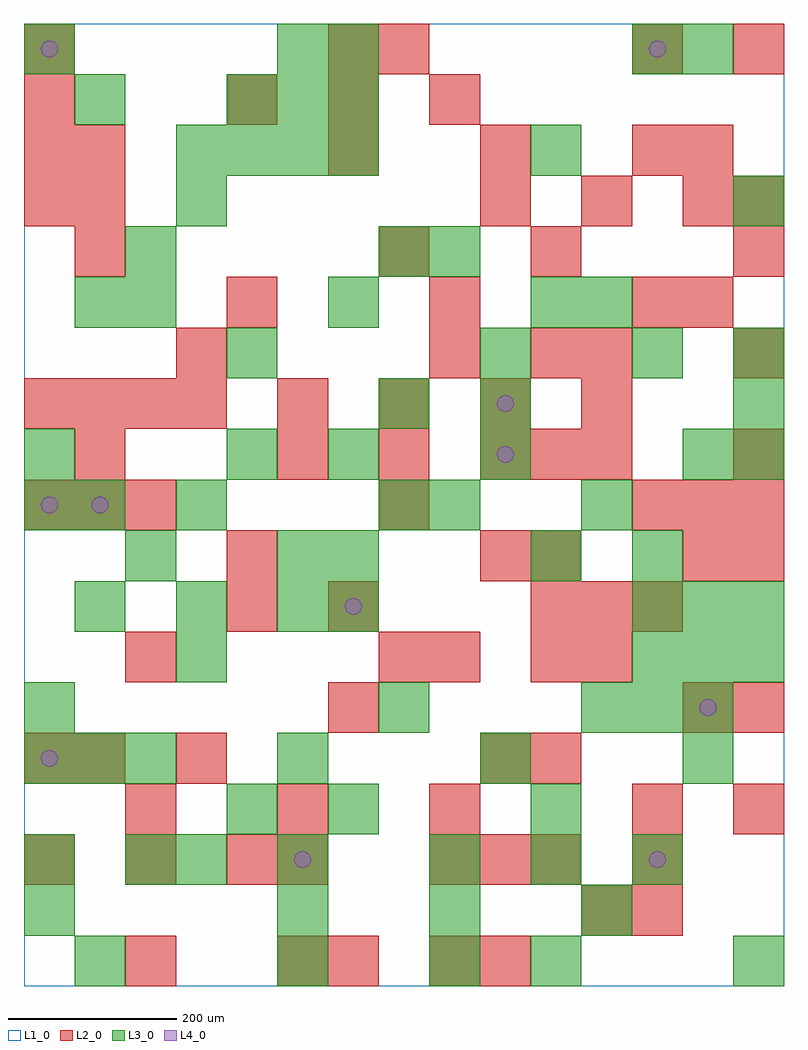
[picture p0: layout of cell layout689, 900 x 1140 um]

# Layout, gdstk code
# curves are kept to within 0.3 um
import gdstk
lib = gdstk.Library(unit=1e-6, precision=1e-09)
def R(c, l, rs):  # rectangles x0, y0, x1, y1
    for r in rs: c.add(gdstk.rectangle(r[:2], r[2:], *l))
def A(c, l, x, y, w, h, nx, ny, dx, dy):  # array of equal rectangles
    R(c, l, [(x+i*dx, y+j*dy, x+i*dx+w, y+j*dy+h) for i in range(nx) for j in range(ny)])
def P(c, l, *ps):  # polygons
    for p in ps: c.add(gdstk.Polygon(p, *l))
L1_0 = (1, 0)
L2_0 = (2, 0)
L3_0 = (3, 0)
L4_0 = (4, 0)

layout689 = lib.new_cell('layout689')
R(layout689, L1_0, [(0,0,900,1140)])
A(layout689, L2_0, 480, 0, 60, 60, 1, 3, 0, 360)
A(layout689, L2_0, 540, 0, 60, 60, 1, 3, 0, 240)
A(layout689, L2_0, 720, 60, 60, 60, 1, 3, 0, 60)
A(layout689, L2_0, 0, 120, 60, 60, 3, 1, 120, 0)
A(layout689, L2_0, 480, 120, 60, 60, 3, 1, 60, 0)
A(layout689, L2_0, 120, 180, 60, 60, 3, 1, 180, 0)
A(layout689, L2_0, 600, 240, 60, 60, 1, 6, 0, 120)
A(layout689, L2_0, 600, 420, 60, 60, 3, 1, 60, 0)
A(layout689, L2_0, 840, 480, 60, 60, 1, 4, 0, 120)
A(layout689, L2_0, 0, 540, 60, 60, 3, 1, 60, 0)
A(layout689, L2_0, 720, 540, 60, 60, 3, 1, 60, 0)
A(layout689, L2_0, 300, 600, 60, 60, 3, 1, 120, 0)
A(layout689, L2_0, 0, 660, 60, 60, 4, 1, 60, 0)
A(layout689, L2_0, 300, 660, 60, 60, 4, 1, 120, 0)
A(layout689, L2_0, 240, 780, 60, 60, 3, 1, 240, 0)
A(layout689, L2_0, 60, 840, 60, 60, 1, 3, 0, 60)
A(layout689, L2_0, 0, 900, 60, 60, 1, 4, 0, 60)
A(layout689, L2_0, 540, 900, 60, 60, 3, 1, 120, 0)
A(layout689, L2_0, 360, 960, 60, 60, 3, 1, 180, 0)
A(layout689, L2_0, 240, 1020, 60, 60, 3, 1, 120, 0)
R(layout689, L2_0, [(120,0,180,60), (300,0,360,60), (360,0,420,60), (660,60,720,120), (300,120,360,180), (840,180,900,240), (0,240,60,300), (60,240,120,300), (180,240,240,300), (360,300,420,360), (780,300,840,360), (840,300,900,360), (120,360,180,420), (420,360,480,420), (660,360,720,420), (240,420,300,480), (360,420,420,480), (240,480,300,540), (780,480,840,540), (420,540,480,600), (60,600,120,660), (660,600,720,660), (180,720,240,780), (660,720,720,780), (780,780,840,840), (420,840,480,900), (840,900,900,960), (780,960,840,1020), (360,1080,420,1140), (420,1080,480,1140), (720,1080,780,1140), (840,1080,900,1140)])
A(layout689, L3_0, 300, 60, 60, 60, 3, 1, 180, 0)
A(layout689, L3_0, 120, 120, 60, 60, 1, 3, 0, 360)
A(layout689, L3_0, 480, 120, 60, 60, 3, 1, 120, 0)
A(layout689, L3_0, 0, 240, 60, 60, 3, 1, 60, 0)
A(layout689, L3_0, 300, 240, 60, 60, 3, 1, 240, 0)
A(layout689, L3_0, 660, 300, 60, 60, 3, 1, 60, 0)
A(layout689, L3_0, 720, 360, 60, 60, 3, 2, 60, 60)
A(layout689, L3_0, 60, 420, 60, 60, 3, 1, 120, 0)
A(layout689, L3_0, 60, 540, 60, 60, 1, 3, 0, 240)
A(layout689, L3_0, 540, 600, 60, 60, 1, 3, 0, 60)
A(layout689, L3_0, 840, 600, 60, 60, 1, 3, 0, 60)
A(layout689, L3_0, 120, 780, 60, 60, 3, 1, 240, 0)
A(layout689, L3_0, 180, 960, 60, 60, 4, 1, 60, 0)
A(layout689, L3_0, 240, 1020, 60, 60, 3, 1, 60, 0)
R(layout689, L3_0, [(60,0,120,60), (300,0,360,60), (480,0,540,60), (600,0,660,60), (840,0,900,60), (0,60,60,120), (0,120,60,180), (180,120,240,180), (300,120,360,180), (240,180,300,240), (360,180,420,240), (600,180,660,240), (0,300,60,360), (420,300,480,360), (180,360,240,420), (360,420,420,480), (300,480,360,540), (360,480,420,540), (600,480,660,540), (720,480,780,540), (0,540,60,600), (180,540,240,600), (420,540,480,600), (480,540,540,600), (660,540,720,600), (0,600,60,660), (240,600,300,660), (360,600,420,660), (780,600,840,660), (420,660,480,720), (240,720,300,780), (720,720,780,780), (660,780,720,840), (420,840,480,900), (480,840,540,900), (180,900,240,960), (840,900,900,960), (600,960,660,1020), (0,1080,60,1140), (300,1080,360,1140), (360,1080,420,1140), (720,1080,780,1140), (780,1080,840,1140)])
P(layout689, L4_0, [(40,270),(39.239,273.827),(37.071,277.071),(33.827,279.239),(30,280),(26.173,279.239),(22.929,277.071),(20.761,273.827),(20,270),(20.761,266.173),(22.929,262.929),(26.173,260.761),(30,260),(33.827,260.761),(37.071,262.929),(39.239,266.173)],
  [(40,570),(39.239,573.827),(37.071,577.071),(33.827,579.239),(30,580),(26.173,579.239),(22.929,577.071),(20.761,573.827),(20,570),(20.761,566.173),(22.929,562.929),(26.173,560.761),(30,560),(33.827,560.761),(37.071,562.929),(39.239,566.173)],
  [(40,1110),(39.239,1113.827),(37.071,1117.071),(33.827,1119.239),(30,1120),(26.173,1119.239),(22.929,1117.071),(20.761,1113.827),(20,1110),(20.761,1106.173),(22.929,1102.929),(26.173,1100.761),(30,1100),(33.827,1100.761),(37.071,1102.929),(39.239,1106.173)],
  [(100,570),(99.239,573.827),(97.071,577.071),(93.827,579.239),(90,580),(86.173,579.239),(82.929,577.071),(80.761,573.827),(80,570),(80.761,566.173),(82.929,562.929),(86.173,560.761),(90,560),(93.827,560.761),(97.071,562.929),(99.239,566.173)],
  [(340,150),(339.239,153.827),(337.071,157.071),(333.827,159.239),(330,160),(326.173,159.239),(322.929,157.071),(320.761,153.827),(320,150),(320.761,146.173),(322.929,142.929),(326.173,140.761),(330,140),(333.827,140.761),(337.071,142.929),(339.239,146.173)],
  [(400,450),(399.239,453.827),(397.071,457.071),(393.827,459.239),(390,460),(386.173,459.239),(382.929,457.071),(380.761,453.827),(380,450),(380.761,446.173),(382.929,442.929),(386.173,440.761),(390,440),(393.827,440.761),(397.071,442.929),(399.239,446.173)],
  [(580,630),(579.239,633.827),(577.071,637.071),(573.827,639.239),(570,640),(566.173,639.239),(562.929,637.071),(560.761,633.827),(560,630),(560.761,626.173),(562.929,622.929),(566.173,620.761),(570,620),(573.827,620.761),(577.071,622.929),(579.239,626.173)],
  [(580,690),(579.239,693.827),(577.071,697.071),(573.827,699.239),(570,700),(566.173,699.239),(562.929,697.071),(560.761,693.827),(560,690),(560.761,686.173),(562.929,682.929),(566.173,680.761),(570,680),(573.827,680.761),(577.071,682.929),(579.239,686.173)],
  [(760,150),(759.239,153.827),(757.071,157.071),(753.827,159.239),(750,160),(746.173,159.239),(742.929,157.071),(740.761,153.827),(740,150),(740.761,146.173),(742.929,142.929),(746.173,140.761),(750,140),(753.827,140.761),(757.071,142.929),(759.239,146.173)],
  [(760,1110),(759.239,1113.827),(757.071,1117.071),(753.827,1119.239),(750,1120),(746.173,1119.239),(742.929,1117.071),(740.761,1113.827),(740,1110),(740.761,1106.173),(742.929,1102.929),(746.173,1100.761),(750,1100),(753.827,1100.761),(757.071,1102.929),(759.239,1106.173)],
  [(820,330),(819.239,333.827),(817.071,337.071),(813.827,339.239),(810,340),(806.173,339.239),(802.929,337.071),(800.761,333.827),(800,330),(800.761,326.173),(802.929,322.929),(806.173,320.761),(810,320),(813.827,320.761),(817.071,322.929),(819.239,326.173)])

lib.write_gds('layout689.gds')
